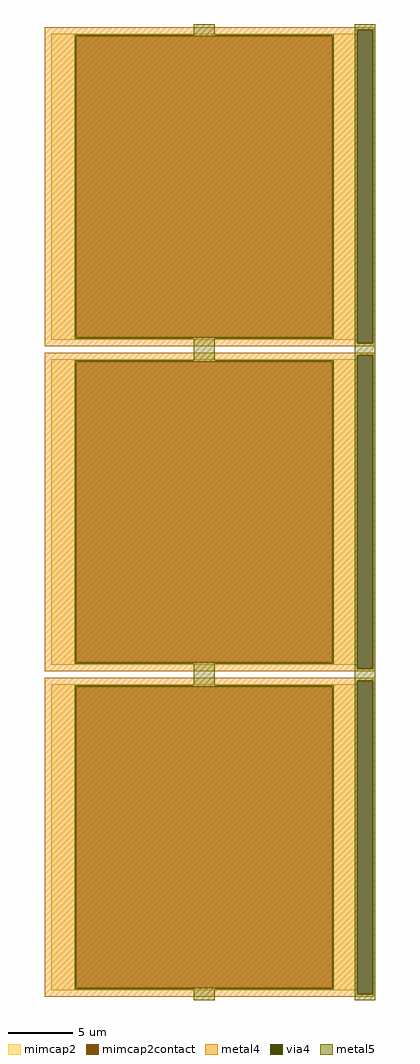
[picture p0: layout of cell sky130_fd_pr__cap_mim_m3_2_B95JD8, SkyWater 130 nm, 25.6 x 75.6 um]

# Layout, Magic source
magic
tech sky130A
magscale 1 2
<< metal4 >>
rect -2549 7469 2549 7510
rect -2549 2611 2293 7469
rect 2529 2611 2549 7469
rect -2549 2570 2549 2611
rect -2549 2429 2549 2470
rect -2549 -2429 2293 2429
rect 2529 -2429 2549 2429
rect -2549 -2470 2549 -2429
rect -2549 -2611 2549 -2570
rect -2549 -7469 2293 -2611
rect 2529 -7469 2549 -2611
rect -2549 -7510 2549 -7469
<< via4 >>
rect 2293 2611 2529 7469
rect 2293 -2429 2529 2429
rect 2293 -7469 2529 -2611
<< mimcap2 >>
rect -2449 7370 2291 7410
rect -2449 2710 -2059 7370
rect 1901 2710 2291 7370
rect -2449 2670 2291 2710
rect -2449 2330 2291 2370
rect -2449 -2330 -2059 2330
rect 1901 -2330 2291 2330
rect -2449 -2370 2291 -2330
rect -2449 -2710 2291 -2670
rect -2449 -7370 -2059 -2710
rect 1901 -7370 2291 -2710
rect -2449 -7410 2291 -7370
<< mimcap2contact >>
rect -2059 2710 1901 7370
rect -2059 -2330 1901 2330
rect -2059 -7370 1901 -2710
<< metal5 >>
rect -239 7394 81 7560
rect 2251 7469 2571 7560
rect -2083 7370 1925 7394
rect -2083 2710 -2059 7370
rect 1901 2710 1925 7370
rect -2083 2686 1925 2710
rect -239 2354 81 2686
rect 2251 2611 2293 7469
rect 2529 2611 2571 7469
rect 2251 2429 2571 2611
rect -2083 2330 1925 2354
rect -2083 -2330 -2059 2330
rect 1901 -2330 1925 2330
rect -2083 -2354 1925 -2330
rect -239 -2686 81 -2354
rect 2251 -2429 2293 2429
rect 2529 -2429 2571 2429
rect 2251 -2611 2571 -2429
rect -2083 -2710 1925 -2686
rect -2083 -7370 -2059 -2710
rect 1901 -7370 1925 -2710
rect -2083 -7394 1925 -7370
rect -239 -7560 81 -7394
rect 2251 -7469 2293 -2611
rect 2529 -7469 2571 -2611
rect 2251 -7560 2571 -7469
<< properties >>
string gencell sky130_fd_pr__cap_mim_m3_2
string FIXED_BBOX -2549 2570 2391 7510
string parameters w 23.7 l 23.7 val 1.141k carea 2.00 cperi 0.19 nx 1 ny 3 dummy 0 square 0 lmin 2.00 wmin 2.00 lmax 30.0 wmax 30.0 dc 0 bconnect 1 tconnect 1 ccov 85
string library sky130
<< end >>
